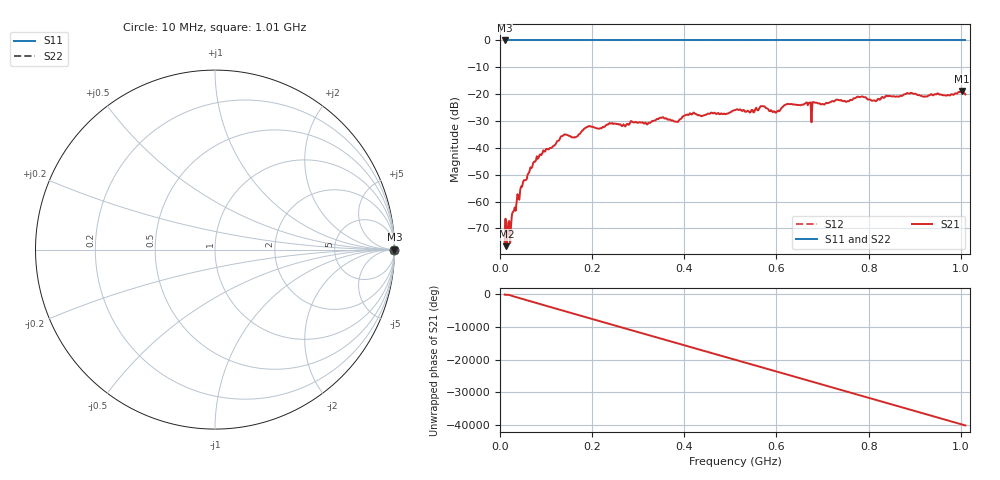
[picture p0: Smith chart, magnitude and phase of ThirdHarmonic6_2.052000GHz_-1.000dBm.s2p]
! 8/17/2025 12:36:07 AM
! C:\ANRITSUVNA\TEMP\TEMP.S2P
! CHANNEL.1
! TR.MEASUREMENT
! RAW.DATA
! RF.CORRECTION.OFF
! AVERAGING.OFF
! IF.BANDWIDTH: 5KHZ
! SWEEPTYPE:  FREQ.SWEEP(Linear)
! Reference Plane Port Info
! PORT:  PORT1  PORT2
! DISTANCE:  0  m  0  m
! TIME:  0  s  0  s
! PHASE.OFFSET:  0  deg.  0  deg.
! LOSS:  0  dB  0  dB
! REF.LOSS:  0  dB  0  dB
! REF.FREQ:  0  Hz  0  Hz
! Power Info
! POWER:  -20  dBm  -20  dBm
! EFF.POWER:  -20  dBm  -20  dBm
! SOURCE.ATTEN:  0  dB  0  dB
! TEST.ATTEN:  0  dB  0  dB
# GHZ S RI R 50.0
! FREQ.GHZ  S11RE  S11IM  S21RE  S21IM  S12RE  S12IM  S22RE  S22IM
!; PortSelection: Port_12
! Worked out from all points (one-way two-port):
!   501 points, 10 MHz to 1.01 GHz, reference 50 ohm
!   highest |S21| = -18.80 dB at 1.002 GHz (marker M1); lowest = -76.6 dB at 14 MHz (marker M2)
!   lowest |S11| = 0.0 dB at 10 MHz (marker M3)
!   |S11| at or under -10 dB: nowhere
!   |S22| runs from 0.0 to 0.0 dB; largest |S21 - S12| = 1.1
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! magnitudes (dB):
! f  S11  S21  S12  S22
! 10 MHz  0.0  -75.1  0.0  0.0
! 14 MHz  0.0  -76.6  0.0  0.0
! 16 MHz  0.0  -73.4  0.0  0.0
! 18 MHz  0.0  -67.8  0.0  0.0
! 28 MHz  0.0  -63.9  0.0  0.0
! 48 MHz  0.0  -54.5  0.0  0.0
! 76 MHz  0.0  -45.2  0.0  0.0
! 136 MHz  0.0  -35.5  0.0  0.0
! 164 MHz  0.0  -36.0  0.0  0.0
! 178 MHz  0.0  -33.6  0.0  0.0
! 344 MHz  0.0  -29.3  0.0  0.0
! 382 MHz  0.0  -30.2  0.0  0.0
! 416 MHz  0.0  -27.6  0.0  0.0
! 510 MHz  0.0  -26.0  0.0  0.0
! 570 MHz  0.0  -24.4  0.0  0.0
! 596 MHz  0.0  -26.5  0.0  0.0
! 624 MHz  0.0  -23.6  0.0  0.0
! 678 MHz  0.0  -23.1  0.0  0.0
! 682 MHz  0.0  -23.1  0.0  0.0
! 844 MHz  0.0  -20.7  0.0  0.0
! 1.002 GHz  0.0  -18.8  0.0  0.0
! 1.01 GHz  0.0  -20.1  0.0  0.0
